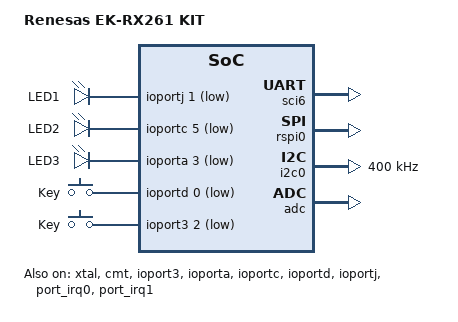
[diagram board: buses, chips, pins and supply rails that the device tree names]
/*
 * Copyright (c) 2025 Renesas Electronics Corporation
 *
 * SPDX-License-Identifier: Apache-2.0
 */

/dts-v1/;

#include <renesas/r5f52618bgfp.dtsi>
#include <zephyr/dt-bindings/gpio/gpio.h>
#include "ek_rx261-pinctrl.dtsi"
#include <zephyr/dt-bindings/adc/adc.h>
#include <zephyr/dt-bindings/input/input-event-codes.h>

/ {
	model = "Renesas EK-RX261 KIT";
	compatible = "renesas,ek_rx261";

	chosen {
		zephyr,sram = &sram0;
		zephyr,flash = &code_flash;
		zephyr,flash-controller = &flash;
		zephyr,console = &uart6;
		zephyr,shell-uart = &uart6;
	};

	leds {
		compatible = "gpio-leds";

		led1: led1 {
			gpios = <&ioportj 1 GPIO_ACTIVE_LOW>;
			label = "LED1";
		};

		led2: led2 {
			gpios = <&ioportc 5 GPIO_ACTIVE_LOW>;
			label = "LED2";
		};

		led3: led3 {
			gpios = <&ioporta 3 GPIO_ACTIVE_LOW>;
			label = "LED3";
		};
	};

	buttons {
		compatible = "gpio-keys";

		sw1: button1 {
			label = "Key";
			gpios = <&ioportd 0 (GPIO_PULL_UP | GPIO_ACTIVE_LOW)>;
			zephyr,code = <INPUT_KEY_0>;
		};

		sw2: button2 {
			label = "Key";
			gpios = <&ioport3 2 (GPIO_PULL_UP | GPIO_ACTIVE_LOW)>;
			zephyr,code = <INPUT_KEY_0>;
		};
	};

	aliases {
		led0 = &led1;
		led1 = &led2;
		led2 = &led3;

		sw0 = &sw1;
		sw1 = &sw2;
	};
};

&xtal {
	clock-frequency = <DT_FREQ_M(8)>;
	mosel = <0>;
	#clock-cells = <0>;
	status = "okay";
};

&pll {
	div = <1>;
	mul = <RX_PLL_MUL_8>;
	status = "okay";
};

&cmt {
	clock-frequency = <DT_FREQ_M(4)>;
	status = "okay";
};

&ioport3 {
	status = "okay";
};

&ioporta {
	status = "okay";
};

&ioportc {
	status = "okay";
};

&ioportd {
	status = "okay";
};

&ioportj {
	status = "okay";
};

&sci6 {
	pinctrl-0 = <&sci6_default>;
	pinctrl-names = "default";
	status = "okay";

	uart6: uart {
		current-speed = <115200>;
		status = "okay";
	};
};

&rspi0 {
	pinctrl-0 = <&rspi0_default>;
	pinctrl-names = "default";
	ssl-assert = <0>;
	status = "okay";
};

&data_flash {
	partitions {
		compatible = "fixed-partitions";
		#address-cells = <1>;
		#size-cells = <1>;

		storage_partition: partition@0 {
			label = "storage";
			reg = <0X0 DT_SIZE_K(8)>;
		};
	};
};

&i2c0 {
	pinctrl-0 = <&i2c0_default>;
	pinctrl-names = "default";
	clock-frequency = <DT_FREQ_K(400)>;
	status = "okay";
};

&adc {
	pinctrl-0 = <&adc_default>;
	pinctrl-names = "default";
	status = "okay";
};

&port_irq0 {
	status = "okay";
};

&port_irq1 {
	status = "okay";
};
